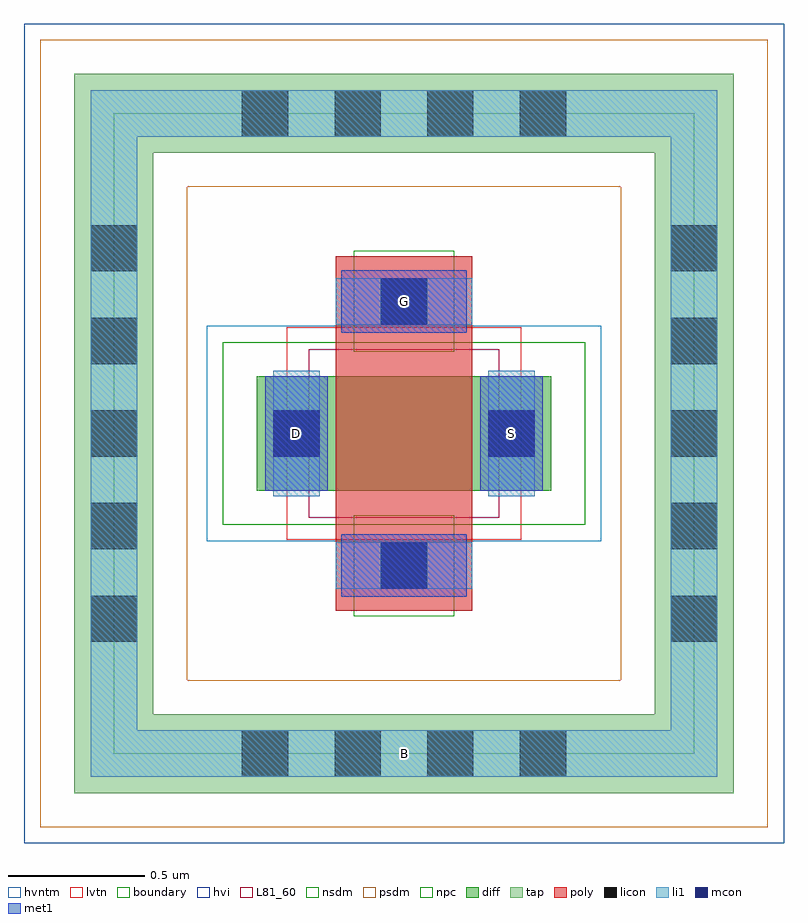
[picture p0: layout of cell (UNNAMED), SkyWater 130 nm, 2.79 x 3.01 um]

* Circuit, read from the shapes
.subckt (UNNAMED) B D G S
XM1 S G D B sky130_fd_pr__nfet_05v0_nvt w=0.42 l=0.5
.ends

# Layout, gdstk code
import gdstk
lib = gdstk.Library(unit=1e-6, precision=1e-09)
def R(c, l, rs):  # rectangles x0, y0, x1, y1
    for r in rs: c.add(gdstk.rectangle(r[:2], r[2:], *l))
def A(c, l, x, y, w, h, nx, ny, dx, dy):  # array of equal rectangles
    R(c, l, [(x+i*dx, y+j*dy, x+i*dx+w, y+j*dy+h) for i in range(nx) for j in range(ny)])
diff = (65, 20)
tap = (65, 44)
poly = (66, 20)
licon = (66, 44)
li1 = (67, 20)
mcon = (67, 44)
met1 = (68, 20)
hvi = (75, 20)
L81_60 = (81, 60)
nsdm = (93, 44)
psdm = (94, 20)
npc = (95, 20)
hvntm = (125, 20)
lvtn = (125, 44)
boundary = (235, 4)

c__unnamed_ = lib.new_cell('(UNNAMED)')
R(c__unnamed_, diff, [(-0.54,-0.21,0.54,0.21)])
R(c__unnamed_, tap, [(-1.21,-1.32,1.21,-1.03), (-1.21,-1.03,-0.92,1.03), (0.92,-1.03,1.21,1.03), (-1.21,1.03,1.21,1.32)])
R(c__unnamed_, poly, [(-0.25,-0.65,0.25,0.65)])
A(c__unnamed_, licon, -0.595, -1.26, 0.17, 0.17, 4, 2, 0.34, 2.35)
A(c__unnamed_, licon, -1.15, -0.765, 0.17, 0.17, 1, 5, 0, 0.34)
A(c__unnamed_, licon, 0.98, -0.765, 0.17, 0.17, 1, 5, 0, 0.34)
R(c__unnamed_, licon, [(-0.085,-0.57,0.085,-0.4), (-0.48,-0.085,-0.31,0.085), (0.31,-0.085,0.48,0.085), (-0.085,0.4,0.085,0.57)])
R(c__unnamed_, li1, [(-1.15,-1.26,1.15,-1.09), (-1.15,-1.09,-0.98,1.09), (0.98,-1.09,1.15,1.09), (-0.25,-0.57,0.25,-0.4), (-0.48,-0.23,-0.31,0.23), (0.31,-0.23,0.48,0.23), (-0.25,0.4,0.25,0.57), (-1.15,1.09,1.15,1.26)])
R(c__unnamed_, mcon, [(-0.085,-0.57,0.085,-0.4), (-0.48,-0.085,-0.31,0.085), (0.31,-0.085,0.48,0.085), (-0.085,0.4,0.085,0.57)])
R(c__unnamed_, met1, [(-0.23,-0.6,0.23,-0.37), (-0.51,-0.21,-0.28,0.21), (0.28,-0.21,0.51,0.21), (-0.23,0.37,0.23,0.6)])
R(c__unnamed_, hvi, [(-1.395,-1.505,1.395,1.505)])
R(c__unnamed_, L81_60, [(-0.35,-0.31,0.35,0.31)])
R(c__unnamed_, nsdm, [(-0.665,-0.335,0.665,0.335)])
R(c__unnamed_, psdm, [(-1.335,-1.445,1.335,-0.905), (-1.335,-0.905,-0.795,0.905), (0.795,-0.905,1.335,0.905), (-1.335,0.905,1.335,1.445)])
R(c__unnamed_, npc, [(-0.185,-0.67,0.185,-0.3), (-0.185,0.3,0.185,0.67)])
R(c__unnamed_, hvntm, [(-0.725,-0.395,0.725,0.395)])
R(c__unnamed_, lvtn, [(-0.43,-0.39,0.43,0.39)])
R(c__unnamed_, boundary, [(-1.065,-1.175,1.065,1.175)])
c__unnamed_.add(gdstk.Label('B', (0,-1.175), layer=67, texttype=5))
c__unnamed_.add(gdstk.Label('D', (-0.395,0), layer=67, texttype=5))
c__unnamed_.add(gdstk.Label('S', (0.395,0), layer=67, texttype=5))
c__unnamed_.add(gdstk.Label('G', (0,0.485), layer=67, texttype=5))

lib.write_gds('_UNNAMED_.gds')
